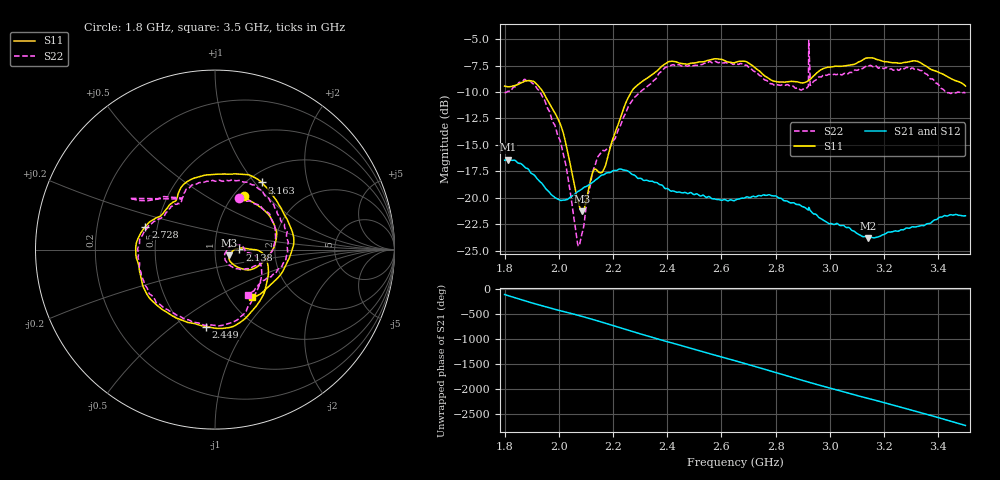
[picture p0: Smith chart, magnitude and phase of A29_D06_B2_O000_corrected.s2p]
! Created with skrf 1.9.0 (http://scikit-rf.org).
# Hz S RI R 50.0
!freq ReS11 ImS11 ReS21 ImS21 ReS12 ImS12 ReS22 ImS22
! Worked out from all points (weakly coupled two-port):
!   1601 points, 1.8 GHz to 3.5 GHz, reference 50 ohm
!   highest |S21| = -16.38 dB at 1.812 GHz (marker M1); lowest = -23.8 dB at 3.142 GHz (marker M2)
!   lowest |S11| = -21.3 dB at 2.087 GHz (marker M3), VSWR 1.19, Z = 58.6 - j3.78 ohm
!   |S11| at or under -10 dB: 1.942 GHz to 2.267 GHz (325.5 MHz wide, 15.5 % of centre)
!   |S22| runs from -24.6 to -5.1 dB; largest |S21 - S12| = 0.0025
!   S11 on the Smith chart (normalised r, x): 1.8 GHz: 1.12, +0.75; 2.138 GHz: 1.32, +0.00; 2.449 GHz: 0.63, -0.67; 2.728 GHz: 0.43, +0.13; 3.163 GHz: 1.16, +1.09; 3.5 GHz: 1.27, -0.76
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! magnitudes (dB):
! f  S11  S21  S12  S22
! 1.8 GHz  -9.4  -16.4  -16.5  -10.0
! 1.812 GHz  -9.5  -16.4  -16.4  -9.9
! 1.88 GHz  -8.9  -17.2  -17.2  -8.9
! 1.942 GHz  -10.0  -18.8  -18.8  -10.5
! 2.011 GHz  -13.4  -20.2  -20.2  -15.3
! 2.068 GHz  -20.0  -19.5  -19.5  -24.1
! 2.084 GHz  -21.2  -19.2  -19.1  -23.5
! 2.087 GHz  -21.3  -19.1  -19.1  -23.2
! 2.138 GHz  -17.3  -18.3  -18.3  -16.6
! 2.168 GHz  -17.2  -17.8  -17.8  -15.5
! 2.268 GHz  -10.0  -17.7  -17.7  -10.9
! 2.367 GHz  -7.9  -18.7  -18.6  -8.3
! 2.449 GHz  -7.3  -19.5  -19.5  -7.5
! 2.65 GHz  -7.2  -20.2  -20.2  -7.3
! 2.728 GHz  -7.8  -19.9  -19.9  -8.1
! 2.893 GHz  -9.1  -20.7  -20.7  -9.8
! 2.934 GHz  -8.6  -21.4  -21.3  -9.2
! 3.142 GHz  -6.8  -23.8  -23.7  -7.6
! 3.163 GHz  -6.8  -23.8  -23.7  -7.6
! 3.217 GHz  -7.2  -23.2  -23.2  -7.8
! 3.324 GHz  -7.1  -22.7  -22.7  -7.9
! 3.5 GHz  -9.4  -21.7  -21.7  -10.1
